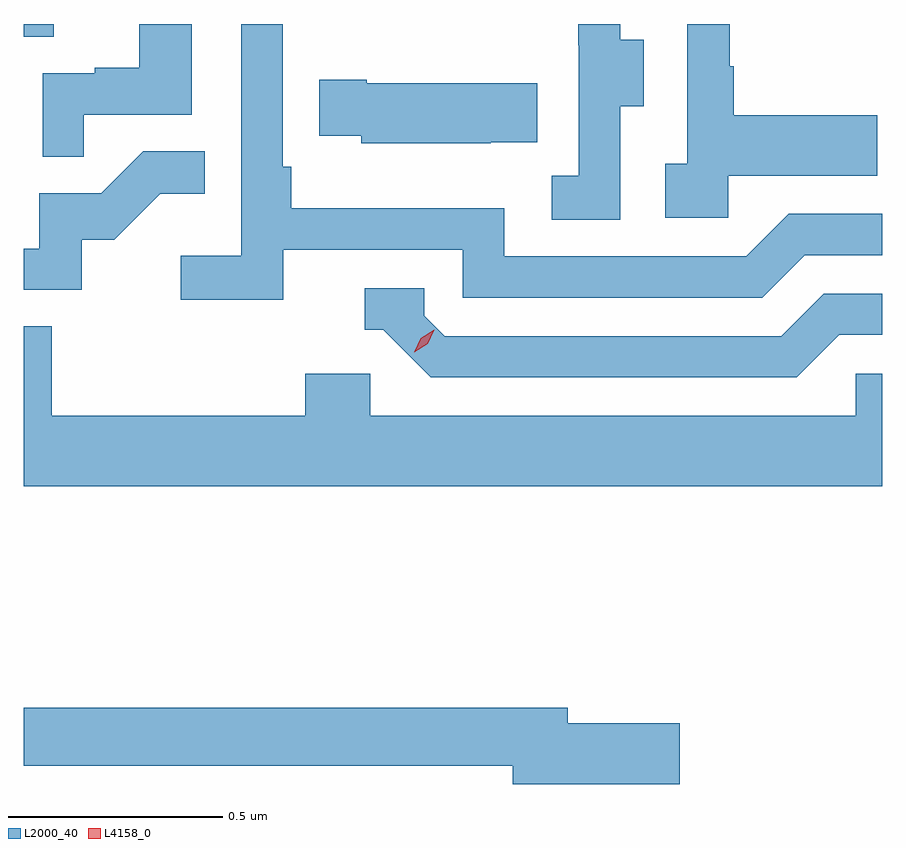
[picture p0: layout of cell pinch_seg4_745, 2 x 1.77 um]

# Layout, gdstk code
import gdstk
lib = gdstk.Library(unit=1e-6, precision=1e-09)
def R(c, l, rs):  # rectangles x0, y0, x1, y1
    for r in rs: c.add(gdstk.rectangle(r[:2], r[2:], *l))
def P(c, l, *ps):  # polygons
    for p in ps: c.add(gdstk.Polygon(p, *l))
L2000_40 = (2000, 40)
L4158_0 = (4158, 0)

pinch_seg4_745 = lib.new_cell('pinch_seg4_745')
R(pinch_seg4_745, L2000_40, [(830.649,832.498,830.719,832.528)])
P(pinch_seg4_745, L2000_40, [(832.29,832.175),(832.637,832.175),(832.637,832.315),(832.303,832.315),(832.303,832.43),(832.293,832.43),(832.293,832.528),(832.194,832.528),(832.194,832.202),(832.143,832.202),(832.143,832.077),(832.29,832.077)],
  [(832.038,832.336),(832.093,832.336),(832.093,832.491),(832.039,832.491),(832.039,832.528),(831.941,832.528),(831.941,832.479),(831.942,832.479),(831.942,832.175),(831.879,832.175),(831.879,832.072),(832.038,832.072)],
  [(831.254,832.002),(831.672,832.002),(831.672,831.891),(832.369,831.891),(832.468,831.99),(832.649,831.99),(832.649,832.086),(832.431,832.086),(832.332,831.987),(831.768,831.987),(831.768,832.099),(831.272,832.099),(831.272,832.195),(831.252,832.195),(831.252,832.528),(831.156,832.528),(831.156,831.988),(831.015,831.988),(831.015,831.886),(831.254,831.886)],
  [(830.789,832.317),(831.04,832.317),(831.04,832.528),(830.918,832.528),(830.918,832.426),(830.815,832.426),(830.815,832.413),(830.694,832.413),(830.694,832.219),(830.789,832.219)],
  [(831.737,832.253),(831.845,832.253),(831.845,832.39),(831.448,832.39),(831.448,832.398),(831.337,832.398),(831.337,832.268),(831.435,832.268),(831.435,832.25),(831.737,832.25)],
  [(830.784,832.026),(830.86,832.026),(830.967,832.133),(831.071,832.133),(831.071,832.232),(830.928,832.232),(830.83,832.134),(830.685,832.134),(830.685,832.005),(830.649,832.005),(830.649,831.909),(830.784,831.909)],
  [(832.549,831.804),(832.649,831.804),(832.649,831.9),(832.512,831.9),(832.413,831.801),(831.63,831.801),(831.582,831.849),(831.582,831.912),(831.443,831.912),(831.443,831.816),(831.486,831.816),(831.597,831.705),(832.45,831.705)],
  [(832.649,831.714),(832.587,831.714),(832.587,831.616),(831.456,831.616),(831.456,831.714),(831.305,831.714),(831.305,831.616),(830.714,831.616),(830.714,831.824),(830.649,831.824),(830.649,831.452),(832.649,831.452)],
  [(832.177,830.9),(831.916,830.9),(831.916,830.936),(830.649,830.936),(830.649,830.8),(831.788,830.8),(831.788,830.758),(832.177,830.758)])
P(pinch_seg4_745, L4158_0, [(831.559,831.763),(831.559,831.763),(831.574,831.796),(831.605,831.816),(831.605,831.816),(831.605,831.816),(831.59,831.783),(831.559,831.763)])

lib.write_gds('pinch_seg4_745.gds')
